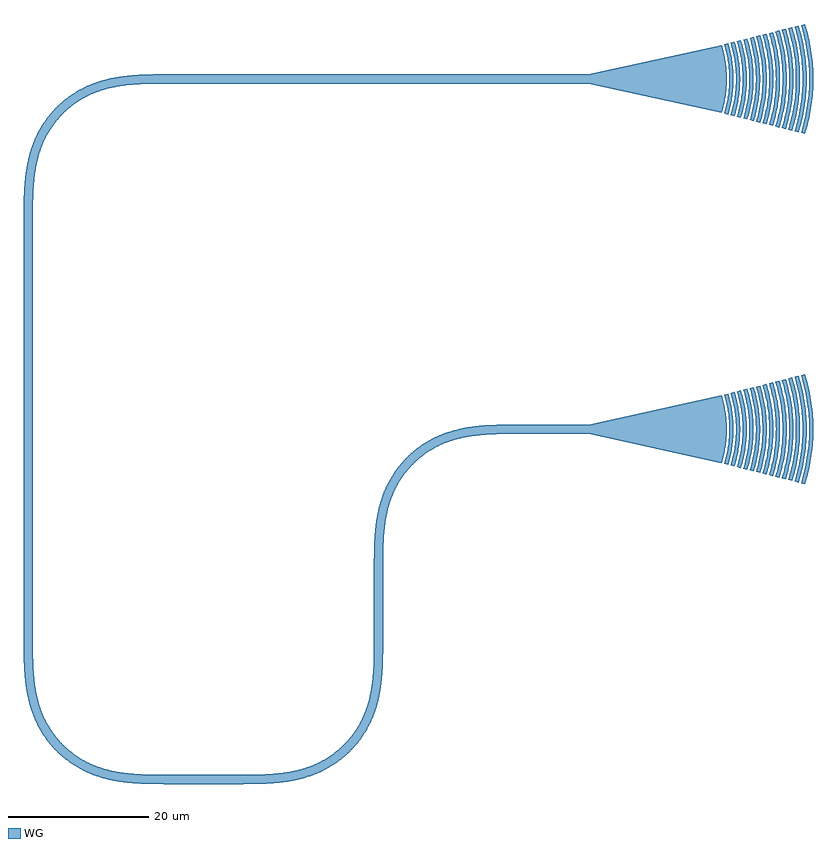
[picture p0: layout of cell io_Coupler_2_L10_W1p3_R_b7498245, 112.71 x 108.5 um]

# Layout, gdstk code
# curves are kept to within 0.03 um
from math import pi, radians
import gdstk
lib = gdstk.Library(unit=1e-6, precision=1e-09)
def R(c, l, rs):  # rectangles x0, y0, x1, y1
    for r in rs: c.add(gdstk.rectangle(r[:2], r[2:], *l))
def P(c, l, *ps):  # polygons
    for p in ps: c.add(gdstk.Polygon(p, *l))
WG = (1, 0)

straight_gdsfactorypcom_ = lib.new_cell('straight_gdsfactorypcom_7c738be8')
R(straight_gdsfactorypcom_, WG, [(0,-0.65,60,0.65)])

c_straight_gdsfactorypcom_ = lib.new_cell('straight_gdsfactorypcom_c283f608')
R(c_straight_gdsfactorypcom_, WG, [(0,-0.65,10,0.65)])

bend_euler_gdsfactorypc_ = lib.new_cell('bend_euler_gdsfactorypc_5e4debba')
P(bend_euler_gdsfactorypc_, WG, [(0,-0.65),(0,0.65),(3.224,0.686),(5.477,0.828),(7.431,1.1),(9.083,1.485),(10.792,2.086),(12.29,2.837),(13.684,3.769),(14.952,4.866),(15.911,5.911),(16.825,7.16),(17.532,8.39),(18.107,9.687),(18.479,10.793),(18.741,11.801),(19.115,13.999),(19.299,16.376),(19.35,20),(20.65,20),(20.618,16.869),(20.466,14.396),(20.178,12.332),(19.726,10.426),(19.42,9.489),(19.054,8.569),(18.215,6.934),(17.179,5.416),(16.062,4.138),(15.345,3.455),(14.584,2.821),(13.066,1.785),(11.431,0.946),(10.511,0.58),(9.574,0.274),(7.668,-0.178),(5.604,-0.466),(3.131,-0.618)])

grating_coupler_ellipti_ = lib.new_cell('grating_coupler_ellipti_e0c51fe6')
P(grating_coupler_ellipti_, WG, [(20.177,-5.087),(19.631,-4.923),(19.941,-3.786),(20.169,-2.633),(20.339,-1.174),(20.38,0),(20.339,1.174),(20.169,2.633),(19.941,3.786),(19.631,4.923),(20.177,5.087),(20.563,3.62),(20.777,2.424),(20.907,1.214),(20.95,0),(20.907,-1.214),(20.777,-2.424),(20.563,-3.62)],
  [(21.092,-5.317),(20.546,-5.153),(20.798,-4.262),(21.058,-3.058),(21.232,-1.841),(21.305,-0.922),(21.319,0.615),(21.196,2.147),(20.938,3.663),(20.546,5.153),(21.092,5.317),(21.496,3.783),(21.72,2.532),(21.855,1.269),(21.9,0),(21.855,-1.269),(21.72,-2.532),(21.496,-3.783)],
  [(23.837,-6.008),(23.291,-5.844),(23.659,-4.494),(23.871,-3.469),(24.069,-2.088),(24.152,-1.046),(24.167,0.697),(24.028,2.435),(23.735,4.154),(23.291,5.844),(23.837,6.008),(24.293,4.274),(24.546,2.861),(24.699,1.434),(24.75,0),(24.699,-1.434),(24.546,-2.861),(24.293,-4.274)],
  [(22.007,-5.547),(21.461,-5.383),(21.724,-4.452),(21.996,-3.195),(22.178,-1.923),(22.254,-0.963),(22.268,0.642),(22.14,2.243),(21.87,3.827),(21.461,5.383),(22.007,5.547),(22.428,3.947),(22.662,2.642),(22.803,1.324),(22.85,0),(22.803,-1.324),(22.662,-2.642),(22.428,-3.947)],
  [(26.582,-6.698),(26.036,-6.534),(26.448,-5.025),(26.75,-3.495),(26.906,-2.335),(27.016,-0.78),(26.998,1.169),(26.809,3.109),(26.448,5.025),(26.036,6.534),(26.582,6.698),(27.091,4.765),(27.373,3.189),(27.543,1.598),(27.6,0),(27.543,-1.598),(27.373,-3.189),(27.091,-4.765)],
  [(28.412,-7.158),(27.866,-6.994),(28.307,-5.379),(28.561,-4.152),(28.797,-2.5),(28.915,-0.835),(28.896,1.252),(28.693,3.328),(28.307,5.379),(27.866,6.994),(28.412,7.158),(28.861,5.509),(29.193,3.831),(29.405,2.134),(29.5,0),(29.405,-2.134),(29.193,-3.831),(28.861,-5.509)],
  [(22.922,-5.777),(22.376,-5.613),(22.73,-4.317),(22.933,-3.333),(23.123,-2.005),(23.203,-1.005),(23.218,0.67),(23.084,2.339),(22.803,3.99),(22.376,5.613),(22.922,5.777),(23.361,4.11),(23.604,2.751),(23.751,1.379),(23.8,0),(23.751,-1.379),(23.604,-2.751),(23.361,-4.11)],
  [(24.752,-6.238),(24.206,-6.074),(24.589,-4.671),(24.808,-3.606),(25.015,-2.171),(25.101,-1.087),(25.117,0.725),(24.972,2.53),(24.668,4.317),(24.206,6.074),(24.752,6.238),(25.143,4.801),(25.432,3.339),(25.647,1.49),(25.7,0),(25.647,-1.49),(25.432,-3.339),(25.143,-4.801)],
  [(25.667,-6.468),(25.121,-6.304),(25.429,-5.214),(25.746,-3.743),(25.96,-2.253),(26.05,-1.128),(26.066,0.752),(25.916,2.627),(25.6,4.48),(25.121,6.304),(25.667,6.468),(26.158,4.602),(26.431,3.08),(26.595,1.545),(26.65,0),(26.595,-1.545),(26.431,-3.08),(26.158,-4.602)],
  [(27.497,-6.928),(26.951,-6.764),(27.377,-5.202),(27.691,-3.618),(27.851,-2.418),(27.965,-0.807),(27.947,1.21),(27.751,3.219),(27.377,5.202),(26.951,6.764),(27.497,6.928),(27.931,5.332),(28.253,3.708),(28.458,2.066),(28.55,0),(28.458,-2.066),(28.253,-3.708),(27.931,-5.332)],
  [(29.327,-7.388),(28.781,-7.224),(29.236,-5.556),(29.571,-3.864),(29.819,-1.723),(29.88,0),(29.819,1.723),(29.571,3.864),(29.236,5.556),(28.781,7.224),(29.327,7.388),(29.79,5.686),(30.133,3.954),(30.352,2.203),(30.45,0),(30.352,-2.203),(30.133,-3.954),(29.79,-5.686)],
  [(30.242,-7.618),(29.696,-7.454),(30.166,-5.733),(30.578,-3.547),(30.767,-1.778),(30.83,0),(30.767,1.778),(30.578,3.547),(30.166,5.733),(29.696,7.454),(30.242,7.618),(30.821,5.419),(31.142,3.627),(31.335,1.818),(31.4,0),(31.335,-1.818),(31.142,-3.627),(30.821,-5.419)],
  [(31.157,-7.848),(30.611,-7.684),(31.095,-5.91),(31.52,-3.657),(31.715,-1.833),(31.78,0),(31.715,1.833),(31.52,3.657),(31.095,5.91),(30.611,7.684),(31.157,7.848),(31.753,5.583),(32.084,3.737),(32.283,1.873),(32.35,0),(32.283,-1.873),(32.084,-3.737),(31.753,-5.583)],
  [(19.263,-4.844),(0.285,-0.65),(0.285,0.65),(19.263,4.844),(19.568,3.727),(19.836,2.306),(19.959,1.156),(20,0),(19.959,-1.156),(19.836,-2.306),(19.568,-3.727)])

io_coupler_2_l10_w1p3_r_ = lib.new_cell('io_Coupler_2_L10_W1p3_R_b7498245')
io_coupler_2_l10_w1p3_r_.add(gdstk.Reference(straight_gdsfactorypcom_, (50,100), rotation=pi))
io_coupler_2_l10_w1p3_r_.add(gdstk.Reference(c_straight_gdsfactorypcom_, (20,30), rotation=3*pi/2))
io_coupler_2_l10_w1p3_r_.add(gdstk.Reference(c_straight_gdsfactorypcom_, (0,0), rotation=pi))
io_coupler_2_l10_w1p3_r_.add(gdstk.Reference(c_straight_gdsfactorypcom_, (50,50), rotation=pi))
io_coupler_2_l10_w1p3_r_.add(gdstk.Reference(straight_gdsfactorypcom_, (-30,20), rotation=pi/2))
io_coupler_2_l10_w1p3_r_.add(gdstk.Reference(bend_euler_gdsfactorypc_, (0,0)))
io_coupler_2_l10_w1p3_r_.add(gdstk.Reference(grating_coupler_ellipti_, (49.715,50)))
io_coupler_2_l10_w1p3_r_.add(gdstk.Reference(grating_coupler_ellipti_, (49.715,100)))
io_coupler_2_l10_w1p3_r_.add(gdstk.Reference(bend_euler_gdsfactorypc_, (-30,20), rotation=3*pi/2))
io_coupler_2_l10_w1p3_r_.add(gdstk.Reference(bend_euler_gdsfactorypc_, (40,50), rotation=pi))
io_coupler_2_l10_w1p3_r_.add(gdstk.Reference(bend_euler_gdsfactorypc_, (-10,100), rotation=pi))

lib.write_gds('io_Coupler_2_L10_W1p3_R_b7498245.gds')
